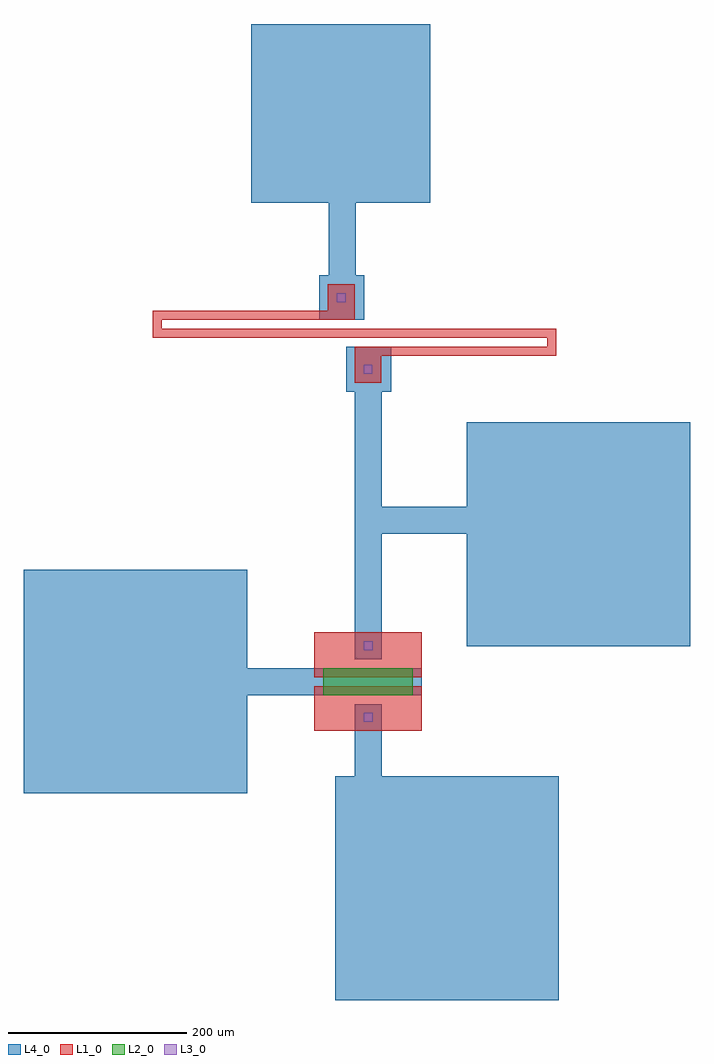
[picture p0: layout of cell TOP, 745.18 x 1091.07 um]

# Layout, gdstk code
import gdstk
lib = gdstk.Library(unit=1e-6, precision=1e-09)
def R(c, l, rs):  # rectangles x0, y0, x1, y1
    for r in rs: c.add(gdstk.rectangle(r[:2], r[2:], *l))
L1_0 = (1, 0)
L2_0 = (2, 0)
L3_0 = (3, 0)
L4_0 = (4, 0)

top = lib.new_cell('TOP')
R(top, L1_0, [(393.594,1420.481,513.594,1470.481), (393.594,1480.481,513.594,1530.481), (438.473,1809.876,468.473,1839.876), (448.473,1809.876,458.473,1829.877), (438.473,1839.876,664.021,1849.876), (654.021,1849.876,664.021,1859.876), (212.887,1859.876,664.021,1869.876), (212.887,1869.876,222.887,1879.876), (212.887,1879.876,438.435,1889.876), (408.435,1889.876,438.435,1919.876), (418.435,1889.876,428.435,1909.877)])
R(top, L2_0, [(403.594,1460.481,503.594,1490.481)])
R(top, L3_0, [(448.594,1430.481,458.594,1440.481), (448.594,1510.481,458.594,1520.481), (448.473,1819.876,458.473,1829.876), (418.435,1899.876,428.435,1909.876)])
R(top, L4_0, [(416.684,1119.612,666.684,1369.612), (68.594,1350.481,318.594,1600.481), (438.795,1369.612,468.795,1450.457), (318.594,1460.481,513.594,1490.481), (438.795,1500.488,468.795,1641.012), (563.775,1515.259,813.775,1765.259), (438.795,1641.012,478.777,1671.015), (478.777,1641.012,563.775,1671.015), (438.795,1671.015,468.795,1799.838), (429.288,1799.838,479.288,1849.838), (399.25,1879.838,449.25,1929.838), (409.553,1929.838,439.553,2010.683), (322.828,2010.683,522.828,2210.683)])

lib.write_gds('TOP.gds')
